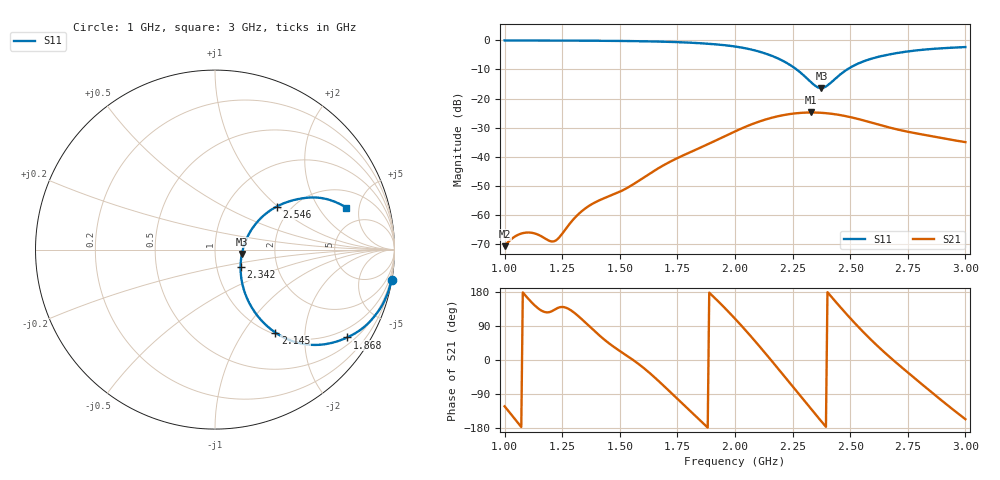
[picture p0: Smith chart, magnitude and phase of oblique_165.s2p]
! TOUCHSTONE file generated by CST MICROWAVE STUDIO
! Date and time: Tue Mar 18 00:02:31 2025
! Project name: oblique.cst
! Parameters = {Tilt=40; Fracture=1; B=12.5; D=160; F=5; Feed=2.85625; L=100; M=10; R=0.384908; S=1; Theta=270; length=57.125; wave=114.25}
! Header version: 2024
! Port assignment regex: !\s*Touchstone port\s*([0-9]+)\s*=\s*(CST MWS port|CST DES external port|CST DES block port)\s*(.+)\s* \(\"(.*)\"\)(\s*mode\s*([0-9]+))?.*
! Touchstone port assignment:
! Touchstone port 1 = CST MWS port 1 ("")
! Touchstone port 2 = CST MWS port 2 ("")
# GHz S DB R 50
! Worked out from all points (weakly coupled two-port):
!   305 points, 1 GHz to 3 GHz, reference 50 ohm
!   highest |S21| = -24.81 dB at 2.329 GHz (marker M1); lowest = -70.8 dB at 1 GHz (marker M2)
!   lowest |S11| = -16.4 dB at 2.375 GHz (marker M3), VSWR 1.36, Z = 67.5 - j3.34 ohm
!   |S11| at or under -10 dB: 2.267 GHz to 2.487 GHz (219.8 MHz wide, 9.25 % of centre)
!   S12 and S22 are empty: the file has one direction only
!   S11 on the Smith chart (normalised r, x): 1 GHz: 0, -12; 1.868 GHz: 0.71, -3.17; 2.145 GHz: 1.03, -1.41; 2.342 GHz: 1.30, -0.26; 2.546 GHz: 1.69, +0.98; 3 GHz: 3.23, +3.70
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1  -0.02 -9.8  -70.81 -122.2  -200.00 0.0  -200.00 0.0
1.04605  -0.02 -10.4  -67.41 -157.0  -200.00 0.0  -200.00 0.0
1.09211  -0.03 -11.0  -66.14 168.9  -200.00 0.0  -200.00 0.0
1.13158  -0.04 -11.6  -66.44 143.5  -200.00 0.0  -200.00 0.0
1.21711  -0.05 -13.0  -69.05 132.8  -200.00 0.0  -200.00 0.0
1.33553  -0.09 -15.2  -58.73 107.3  -200.00 0.0  -200.00 0.0
1.39474  -0.11 -16.5  -55.65 73.9  -200.00 0.0  -200.00 0.0
1.53289  -0.21 -20.0  -50.72 10.4  -200.00 0.0  -200.00 0.0
1.67105  -0.41 -24.4  -43.82 -57.0  -200.00 0.0  -200.00 0.0
1.86842  -1.07 -33.6  -36.22 -170.8  -200.00 0.0  -200.00 0.0
2  -2.10 -42.5  -31.31 109.1  -200.00 0.0  -200.00 0.0
2.14474  -4.86 -53.9  -26.94 8.3  -200.00 0.0  -200.00 0.0
2.24342  -8.67 -57.5  -25.28 -64.7  -200.00 0.0  -200.00 0.0
2.32895  -14.32 -41.9  -24.81 -128.3  -200.00 0.0  -200.00 0.0
2.33553  -14.79 -38.5  -24.81 -133.1  -200.00 0.0  -200.00 0.0
2.34211  -15.24 -34.7  -24.81 -138.0  -200.00 0.0  -200.00 0.0
2.375  -16.40 -9.2  -24.92 -162.0  -200.00 0.0  -200.00 0.0
2.46053  -11.50 32.2  -25.75 137.2  -200.00 0.0  -200.00 0.0
2.54605  -7.58 34.9  -27.28 80.6  -200.00 0.0  -200.00 0.0
2.67105  -4.81 30.0  -29.99 8.1  -200.00 0.0  -200.00 0.0
2.82895  -3.11 23.3  -32.61 -72.9  -200.00 0.0  -200.00 0.0
3  -2.29 17.7  -35.00 -156.2  -200.00 0.0  -200.00 0.0
